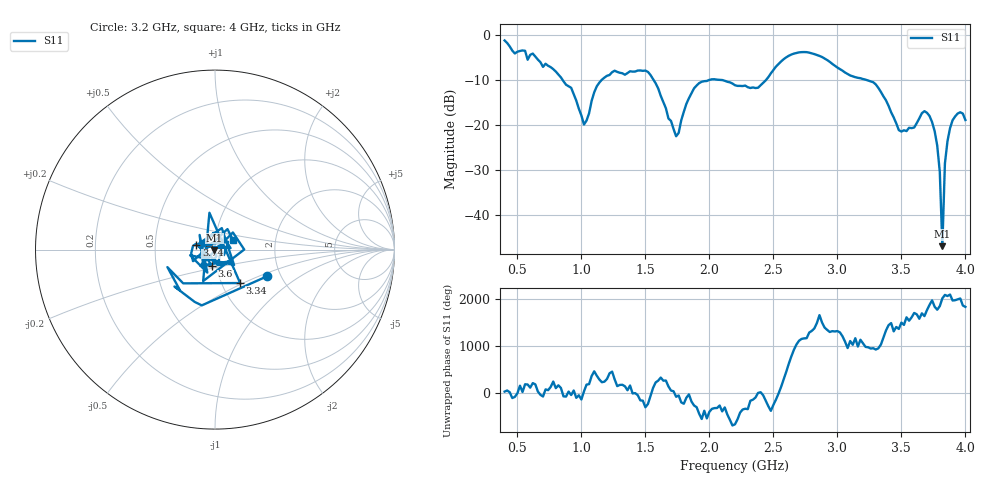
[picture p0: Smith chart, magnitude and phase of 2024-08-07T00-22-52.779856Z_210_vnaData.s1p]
!Created with skrf (http://scikit-rf.org).
# Hz S RI R 50.0
!freq ReS11 ImS11
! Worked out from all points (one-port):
!   181 points, 400 MHz to 4 GHz, reference 50 ohm
!   lowest |S11| = -47.0 dB at 3.82 GHz (marker M1), VSWR 1.01, Z = 49.6 - j0.221 ohm
!   |S11| at or under -10 dB: 1.564 GHz to 1.997 GHz (432.7 MHz wide, 24.3 % of centre); 2.1 GHz to 2.442 GHz (341.9 MHz wide, 15.1 % of centre); 3.229 GHz to end of sweep (the widest 3 of 4)
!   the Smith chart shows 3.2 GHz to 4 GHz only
!   S11 on the Smith chart (normalised r, x): 3.2 GHz: 1.69, -0.57; 3.34 GHz: 1.22, -0.48; 3.6 GHz: 0.95, -0.18; 3.74 GHz: 0.81, +0.04; 4 GHz: 1.21, +0.13
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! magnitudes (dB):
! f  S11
! 400 MHz  -1.2
! 860 MHz  -10.3
! 920 MHz  -11.7
! 1.02 GHz  -19.9
! 1.12 GHz  -11.4
! 1.3 GHz  -8.4
! 1.52 GHz  -8.2
! 1.76 GHz  -21.8
! 1.82 GHz  -15.3
! 1.92 GHz  -10.7
! 2.2 GHz  -11.2
! 2.38 GHz  -11.7
! 2.66 GHz  -4.1
! 3.1 GHz  -9.0
! 3.2 GHz  -9.8
! 3.34 GHz  -12.6
! 3.48 GHz  -21.2
! 3.56 GHz  -20.6
! 3.6 GHz  -20.6
! 3.68 GHz  -16.9
! 3.74 GHz  -19.4
! 3.78 GHz  -24.6
! 3.8 GHz  -30.5
! 3.82 GHz  -47.0
! 3.84 GHz  -28.6
! 3.86 GHz  -23.6
! 3.92 GHz  -18.1
! 4 GHz  -18.9
